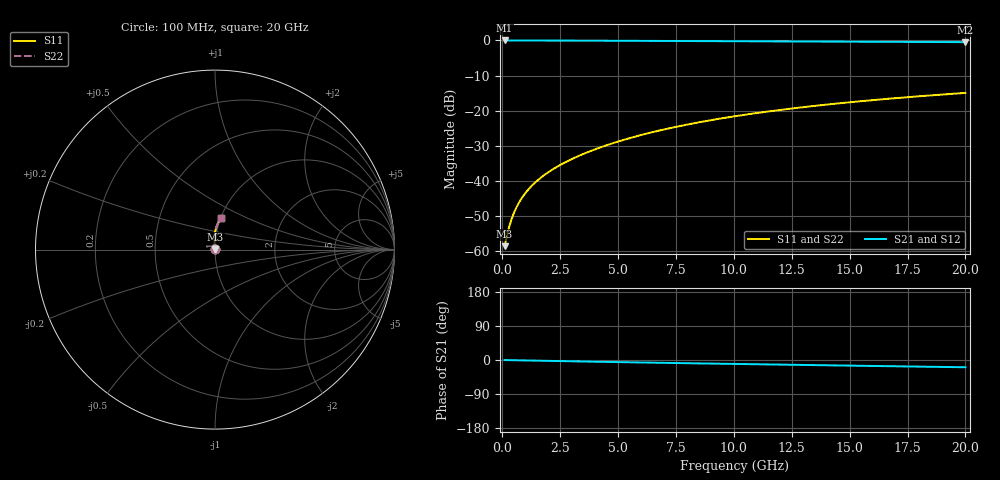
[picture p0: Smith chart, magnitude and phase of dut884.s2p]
! Touchstone file exported from HFSS 2024.1.0
!  File:  C:/UserFiles/LocalFiles/RDL_TSV_Batchsim/temp_RDL_bottom_884_1779865626.aedt
!  Generated:  03:09:31 PM May 27, 2026
!  Design:  RDL_bottom
!  Project:  temp_RDL_bottom_884_1779865626
!  Setup:  Setup1
!  Solution:  Sweep
! Variables:
!  dtsv = 10.80580581um
!  hbump = 3um
!  htsv = 93um
!  ldown = 256.71um
!  lrdl = 100um
!  p = 40
!  p1 = 55.63um
!  rhole = 1um
!  t = 450um
!  tdown = 4.42um
!  trdl = 3.915915916um
!  wdown = 29.92um
!  wrdl = 20um
# GHz S MA R 50.000000
! Terminal data exported
! Port[1] = RDL1_T1
! Port[2] = RDL1_T2
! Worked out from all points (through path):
!   200 points, 100 MHz to 20 GHz, reference 50 ohm
!   highest |S21| = -0.01 dB at 100 MHz (marker M1); lowest = -0.5 dB at 20 GHz (marker M2)
!   group delay of S21, straight-line fit = 2.62 ps
!   lowest |S11| = -58.7 dB at 100 MHz (marker M3), VSWR 1.00, Z = 50.1 + j0.0745 ohm
!   |S11| at or under -10 dB: start of sweep to end of sweep
!   |S22| runs from -58.7 to -15.0 dB; largest |S21 - S12| = 2e-15
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0.1  0.001167 39.6  0.9991 -0.1  0.9991 -0.1  0.001167 39.6
! Gamma 0 0 0 0
! Port Impedance 50 0 50 0
0.2  0.00164 56.9  0.999 -0.2  0.999 -0.2  0.00164 56.9
0.3  0.002216 66.3  0.9989 -0.4  0.9989 -0.4  0.002216 66.2
0.4  0.00283 71.7  0.9988 -0.5  0.9988 -0.5  0.00283 71.7
0.5  0.003461 75.3  0.9988 -0.6  0.9988 -0.6  0.003461 75.2
0.6  0.0041 77.7  0.9987 -0.7  0.9987 -0.7  0.0041 77.7
0.8  0.005388 81.0  0.9985 -0.9  0.9985 -0.9  0.005388 81.0
1.1  0.007332 84.1  0.9982 -1.3  0.9982 -1.3  0.007332 84.1
1.5  0.00995 86.7  0.9977 -1.8  0.9977 -1.8  0.00995 86.7
1.8  0.01195 88.1  0.9972 -2.1  0.9972 -2.1  0.01195 88.1
2.1  0.01398 89.4  0.9966 -2.4  0.9966 -2.4  0.01398 89.3
2.7  0.01818 91.2  0.9953 -3.1  0.9953 -3.1  0.01818 91.2
3.5  0.02409 92.9  0.9931 -4.0  0.9931 -4.0  0.02409 92.9
4.2  0.02957 93.9  0.9911 -4.8  0.9911 -4.8  0.02957 93.9
5  0.03617 94.5  0.9885 -5.6  0.9885 -5.6  0.03617 94.5
6.8  0.05209 94.4  0.9825 -7.4  0.9825 -7.4  0.05209 94.4
8.4  0.06712 93.3  0.9773 -8.9  0.9773 -8.9  0.06711 93.3
10.1  0.08356 91.6  0.9721 -10.5  0.9721 -10.5  0.08356 91.6
11.7  0.09922 89.7  0.9675 -11.9  0.9675 -11.9  0.09921 89.7
13.4  0.1158 87.7  0.9628 -13.4  0.9628 -13.4  0.1158 87.7
16.7  0.1477 83.7  0.9541 -16.3  0.9541 -16.3  0.1476 83.7
20  0.1785 79.8  0.9456 -19.2  0.9456 -19.2  0.1785 79.8
